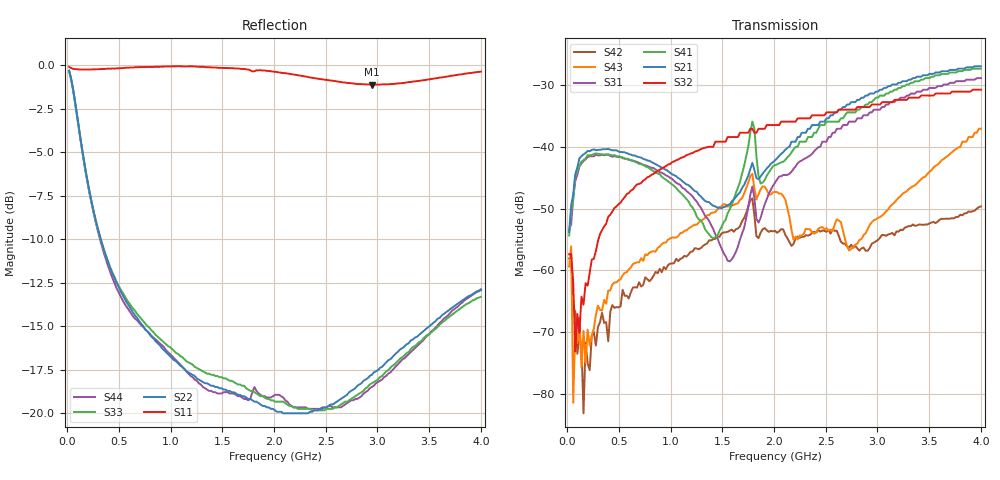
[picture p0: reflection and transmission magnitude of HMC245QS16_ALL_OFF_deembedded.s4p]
!Hittite Microwave Corporation
!12 Elizabeth Drive
!Chelmsford, MA 01824
!Tel: 978-250-3343
!Fax: 978-250-3373
!Device: HMC245QS16, DC-3.5 GHz GaAs MMIC SP3T Non-Reflective Switch in 16 lead QSOP package
!Misc: Port 1 = RFC, Port 2 = RF1, Port 3 = RF2. Port 4 = RF3, ALL OFF, Bias: +5VDC, DEEMBEDDED TO THE PINS OF THE DEVICE
# MHZ S MA R 50
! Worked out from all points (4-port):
!   201 points, 19.9 MHz to 4 GHz, reference 50 ohm
!   strongest paths, dB at 19.9 MHz, 1.015 GHz, 2.01 GHz, 3.005 GHz, 4 GHz:
!     S32: -57.4, -42.5, -36.5, -33.2, -30.8
!     S21: -53.8, -44.4, -42.2, -31.1, -26.9
!     S41: -54.4, -46.1, -43.0, -32.0, -27.3
!     S31: -53.5, -45.2, -45.8, -34.0, -28.9
!     S43: -59.4, -54.7, -47.3, -51.5, -37.1
!     S42: -58.1, -58.9, -53.6, -55.1, -49.7
!   lowest |S11| = -1.1 dB at 2.945 GHz (marker M1), VSWR 15.53, Z = 3.27 + j5.95 ohm
!   |S11| at or under -10 dB: nowhere
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19.9  0.988 -2.0  0.002279 91.2  0.003305 128.0  0.001431 160.5
      0.002043 -39.4  0.964 -11.9  0.001552 124.9  0.00113 -65.7
      0.002116 80.7  0.001346 30.7  0.964 -12.1  0.00163 23.3
      0.001912 12.3  0.001247 97.1  0.001073 161.2  0.961 -12.1
39.801  0.981 -3.5  0.0027 78.4  0.002599 77.1  0.003341 80.5
        0.003341 81.8  0.911 -22.6  0.0008578 -1.0  0.0006313 -36.6
        0.002359 68.4  0.001349 27.3  0.912 -22.8  0.001028 -42.9
        0.002924 55.7  0.0012 19.4  0.001562 -30.6  0.91 -22.9
59.701  0.975 -4.9  0.004299 69.2  0.00389 69.1  0.004427 67.1
        0.004146 69.6  0.848 -31.8  0.0002776 20.6  0.0002738 144.9
        0.003911 70.6  0.000798 79.1  0.845 -32.1  0.0008841 -126.0
        0.003693 69.4  0.0005178 -80.0  8.444e-05 -95.8  0.845 -32.2
159.203  0.971 -11.9  0.008623 31.9  0.007486 31.0  0.007929 32.1
         0.008692 33.1  0.542 -61.4  0.000434 100.3  0.0001705 73.1
         0.007669 30.9  0.0005252 87.0  0.537 -61.7  9.775e-05 -17.4
         0.007811 31.9  6.937e-05 140.8  0.0003229 172.7  0.538 -61.9
1572.139  0.98 -98.6  0.003408 36.9  0.001161 14.7  0.003174 64.3
          0.003424 36.7  0.116 -77.1  0.012 62.0  0.002046 50.7
          0.00118 17.7  0.012 62.0  0.124 -78.1  0.003281 46.5
          0.003116 66.0  0.002093 51.1  0.003319 46.1  0.114 -86.6
2945.274  0.879 166.4  0.027 37.1  0.019 40.0  0.023 32.8
          0.027 37.2  0.129 3.4  0.022 28.3  0.00161 25.6
          0.019 39.9  0.022 28.5  0.122 4.6  0.002468 132.0
          0.023 32.9  0.001642 25.4  0.002446 134.6  0.119 -16.0
4000  0.958 81.1  0.045 -13.6  0.036 -15.0  0.044 -25.4
      0.045 -13.5  0.227 30.2  0.029 -3.8  0.003084 26.8
      0.036 -14.8  0.029 -3.4  0.216 35.0  0.014 72.1
      0.043 -25.2  0.003289 28.0  0.014 71.8  0.226 8.2
